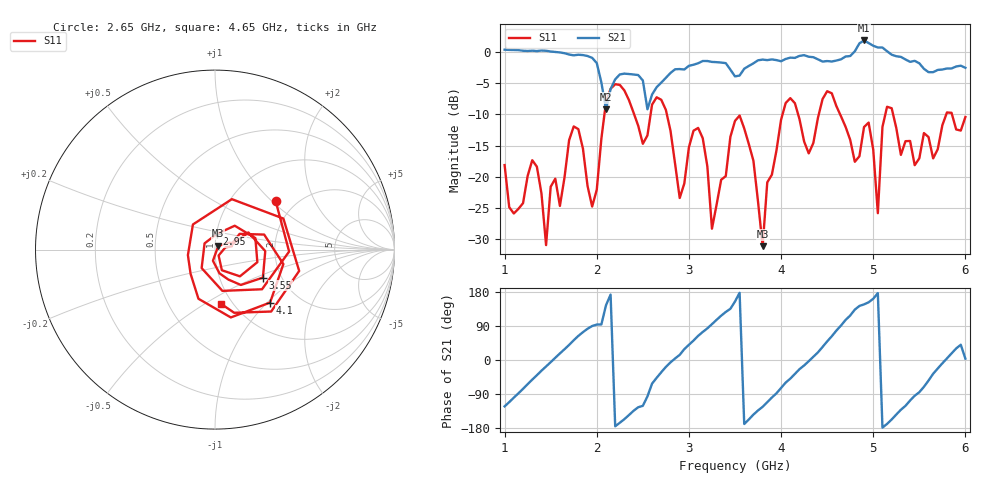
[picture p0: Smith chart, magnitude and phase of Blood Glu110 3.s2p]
! NanoVNA-App
! Date: 2024-03-20 23:33:59
! Start: 1GHz Stop: 6GHz Points: 101
! S-Parameter data: F S11 S21 S12 S22
# Hz S RI R 50
!	Frequency	S11_Real	S11_Imag	S21_Real	S21_Imag	S12_Real	S12_Imag	S22_Real	S22_Imag
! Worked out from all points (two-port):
!   101 points, 1 GHz to 6 GHz, reference 50 ohm
!   highest |S21| = 1.81 dB at 4.9 GHz (marker M1); lowest = -9.2 dB at 2.1 GHz (marker M2)
!   |S21| within 3 dB of the highest: start of sweep to 1.963 GHz; 4.652 GHz to 5.345 GHz (693.4 MHz wide, 13.9 % of centre)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
!   lowest |S11| = -31.1 dB at 3.8 GHz (marker M3), VSWR 1.06, Z = 51.8 + j2.18 ohm
!   |S11| at or under -10 dB: start of sweep to 2.083 GHz; 2.761 GHz to 4.016 GHz (1.256 GHz wide, 37.1 % of centre); 5.215 GHz to 5.793 GHz (577.2 MHz wide, 10.5 % of centre)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
!   S12 and S22 are empty: the file has one direction only
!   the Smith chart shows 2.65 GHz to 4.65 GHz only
!   S11 on the Smith chart (normalised r, x): 2.65 GHz: 1.59, +1.06; 2.95 GHz: 1.01, +0.18; 3.55 GHz: 1.61, -0.56; 4.1 GHz: 1.44, -1.04; 4.65 GHz: 0.89, -0.59
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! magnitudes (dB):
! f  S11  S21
! 1 GHz  -18.1  0.3
! 1.35 GHz  -18.4  0.1
! 1.45 GHz  -30.9  0.2
! 1.85 GHz  -15.5  -0.5
! 1.95 GHz  -24.7  -1.0
! 2.1 GHz  -8.0  -9.2
! 2.65 GHz  -7.3  -5.7
! 2.7 GHz  -7.7  -4.9
! 2.95 GHz  -21.1  -2.8
! 3.1 GHz  -12.2  -1.8
! 3.25 GHz  -28.3  -1.6
! 3.5 GHz  -11.1  -3.9
! 3.55 GHz  -10.2  -3.8
! 3.8 GHz  -31.1  -1.3
! 4.1 GHz  -7.4  -0.9
! 4.35 GHz  -14.6  -0.9
! 4.65 GHz  -10.3  -1.2
! 4.9 GHz  -12.0  1.8
! 5.05 GHz  -25.8  0.7
! 5.2 GHz  -9.0  -0.5
! 5.45 GHz  -18.1  -1.4
! 6 GHz  -10.4  -2.6
